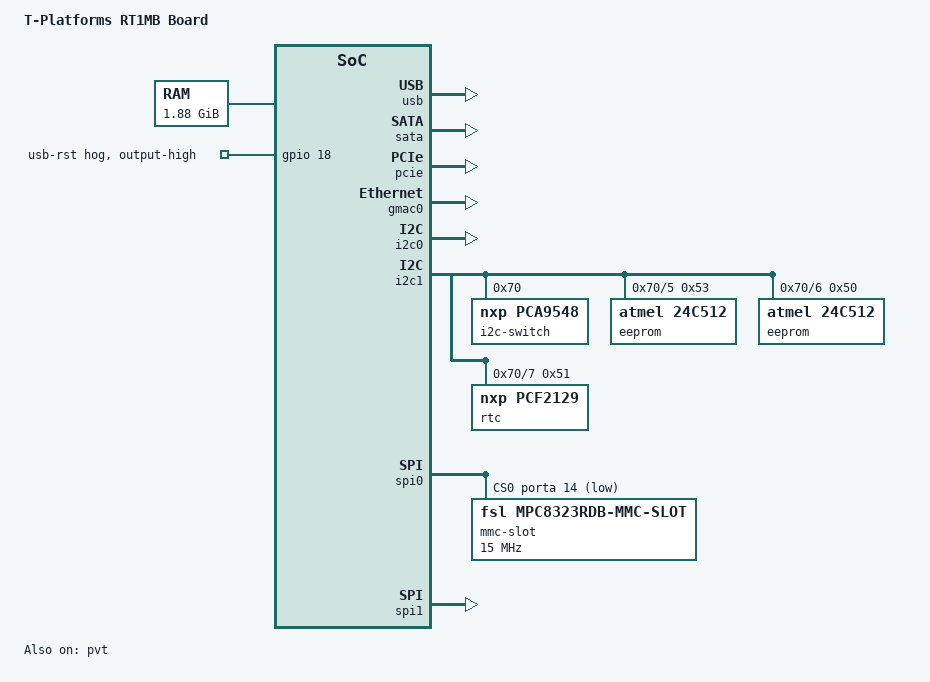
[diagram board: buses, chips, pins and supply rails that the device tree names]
/*
 * Baikal-T BFK2 board device tree.
 *
 * Copyright (C) 2014-2016  Baikal Electronics JSC
 *
 * This program is free software; you can redistribute it and/or
 * modify it under the terms of the GNU General Public License
 * as published by the Free Software Foundation; either version 2
 * of the License, or (at your option) any later version.
 *
 * This program is distributed in the hope that it will be useful,
 * but WITHOUT ANY WARRANTY; without even the implied warranty of
 * MERCHANTABILITY or FITNESS FOR A PARTICULAR PURPOSE.  See the
 * GNU General Public License for more details.
 *
 * You should have received a copy of the GNU General Public License
 * along with this program; if not, write to the Free Software
 * Foundation, Inc., 51 Franklin Street, Fifth Floor, Boston, MA  02110-1301, USA.
 */

#include <dt-bindings/interrupt-controller/mips-gic.h>
#include <dt-bindings/gpio/gpio.h>

/dts-v1/;

#include "baikal_t1_soc.dtsi"

/ {
	model = "T-Platforms RT1MB Board";
	compatible = "baikal,mips", "baikal,baikal-t1-soc";
	#address-cells = <1>;
	#size-cells = <1>;
	interrupt-parent = <&gic>;

	chosen {
		bootargs = "root=/dev/ram rw console=ttyS0,115200n8 earlyprintk=uart8250,mmio32,0x1F04A000,115200 nohtw";
		linux,initrd-start = <0x01000000>;
		linux,initrd-end   = <0x02000000>;
	};

	memory {
		device_type = "memory";
		reg = <0x00000000 0x08000000>,
		      <0x20000000 0x70000000>;
	};

};

&usb {
	status = "ok";
};

&sata {
	status = "ok";
};

&pcie {
	status = "ok";
};

&gmac0 {
	status = "ok";
};

&gpio {
	status = "ok";
	usb_rst_line {
		gpio-hog;
		gpios = <18 0>;
		output-high;
		line-name = "usb-rst";
	};
};

&gpio3 {
	status = "ok";
};

&i2c0 {
	status = "ok";
};

&i2c1 {
	status = "ok";
	i2c-switch@70 {
		compatible = "nxp,pca9548";
		#address-cells = <1>;
		#size-cells = <0>;
		reg = <0x70>;

		i2c@1 {
			#address-cells = <1>;
			#size-cells = <0>;
			reg = <1>;
		};

		i2c@2 {
			#address-cells = <1>;
			#size-cells = <0>;
			reg = <2>;
		};

		i2c@4 {
			#address-cells = <1>;
			#size-cells = <0>;
			reg = <4>;
		};

		i2c@5 {
			#address-cells = <1>;
			#size-cells = <0>;
			reg = <5>;
			eeprom@53 {
				compatible = "atmel,24c512";
				reg = <0x53>;
				pagesize = <128>;
			};
		};

		i2c@6 {
			#address-cells = <1>;
			#size-cells = <0>;
			reg = <6>;
			eeprom@50 {
				compatible = "atmel,24c512";
				reg = <0x50>;
				pagesize = <128>;
			};
		};

		i2c@7 {
			#address-cells = <1>;
			#size-cells = <0>;
			reg = <7>;
			rtc@51 {
				compatible = "nxp,pcf2129";
				reg = <0x51>;
			};
		};
	};
};


&spi0 {
	num-cs = <2>;
	cs-gpios = <&porta 14 GPIO_ACTIVE_LOW>, <0>;
	status = "ok";

	mmc-slot@0 {
		compatible = "fsl,mpc8323rdb-mmc-slot", "mmc-spi-slot";
		reg = <0>;
//		gpios = <&porta 15 GPIO_ACTIVE_LOW>, <0>;
		voltage-ranges = <2000 3600>;
		spi-max-frequency = <15000000>;
	};
};

&spi1 {
	num-cs = <1>;
	cs-gpios = <0>;
	status = "ok";
};

&pvt {
	status = "ok";
};
